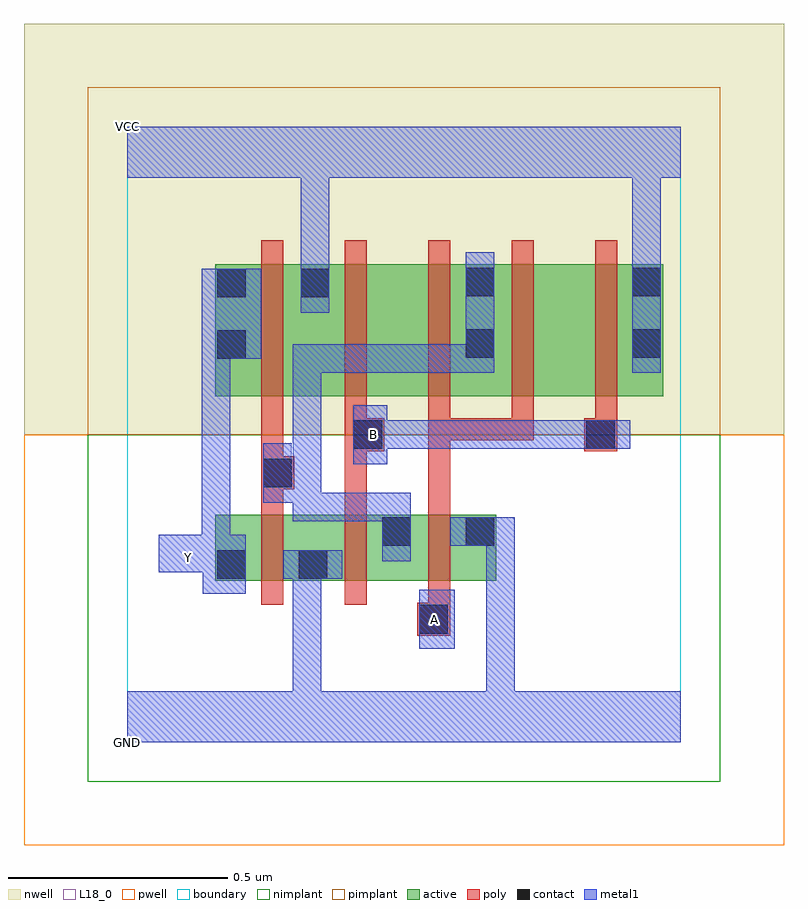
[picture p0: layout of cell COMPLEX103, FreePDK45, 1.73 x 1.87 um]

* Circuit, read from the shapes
.subckt COMPLEX103 A B GND VCC Y
M1 GND n1 Y VSUBS nfet w=0.15u l=0.05u
M2 n1 B GND VSUBS nfet w=0.15u l=0.05u
M3 GND A n1 VSUBS nfet w=0.15u l=0.05u
M4 VCC n1 Y n2 pfet w=0.3u l=0.05u
M5 n3 B VCC n2 pfet w=0.3u l=0.05u
M6 n1 A n3 n2 pfet w=0.3u l=0.05u
M7 n4 A n1 n2 pfet w=0.3u l=0.05u
M8 VCC B n4 n2 pfet w=0.3u l=0.05u
.ends

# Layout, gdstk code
import gdstk
lib = gdstk.Library(unit=1e-6, precision=1e-09)
def R(c, l, rs):  # rectangles x0, y0, x1, y1
    for r in rs: c.add(gdstk.rectangle(r[:2], r[2:], *l))
def A(c, l, x, y, w, h, nx, ny, dx, dy):  # array of equal rectangles
    R(c, l, [(x+i*dx, y+j*dy, x+i*dx+w, y+j*dy+h) for i in range(nx) for j in range(ny)])
active = (1, 0)
pwell = (2, 0)
nwell = (3, 0)
nimplant = (4, 0)
pimplant = (5, 0)
poly = (9, 0)
contact = (10, 0)
metal1 = (11, 0)
L18_0 = (18, 0)
boundary = (235, 0)

complex103 = lib.new_cell('COMPLEX103')
R(complex103, active, [(0.2,0.367,0.275,0.517), (0.2,0.367,0.46,0.517), (0.385,0.367,0.65,0.517), (0.385,0.367,0.46,0.442), (0.575,0.367,0.65,0.517), (0.575,0.367,0.84,0.517), (0.765,0.367,0.84,0.517), (0.2,0.787,0.465,1.087), (0.2,0.787,0.275,1.082), (0.39,0.787,0.615,1.087), (0.615,0.787,0.84,1.087), (0.765,0.787,0.84,1.087), (0.765,0.787,0.995,1.087), (0.995,0.787,1.22,1.087), (1.145,0.787,1.22,1.087), (0.39,1.007,0.465,1.087)])
R(complex103, pwell, [(-0.235,-0.235,1.495,0.7)])
R(complex103, nwell, [(-0.235,0.7,1.495,1.635)])
R(complex103, nimplant, [(-0.09,-0.09,1.35,0.7)])
R(complex103, pimplant, [(-0.09,0.7,1.35,1.49)])
A(complex103, poly, 0.305, 0.312, 0.05, 0.26, 3, 1, 0.19, 0)
A(complex103, poly, 0.495, 0.687, 0.05, 0.095, 4, 1, 0.19, 0)
A(complex103, poly, 0.305, 0.732, 0.05, 0.41, 5, 1, 0.19, 0)
R(complex103, poly, [(0.66,0.242,0.735,0.317), (0.685,0.267,0.735,0.362), (0.305,0.522,0.355,0.625), (0.495,0.522,0.545,0.712), (0.685,0.522,0.735,0.737), (0.305,0.575,0.38,0.65), (0.305,0.6,0.355,0.782), (0.495,0.662,0.585,0.737), (1.04,0.662,1.115,0.737), (0.685,0.687,0.735,0.737), (0.685,0.687,0.925,0.737), (0.875,0.687,0.925,0.737), (0.875,0.687,0.925,0.737), (0.875,0.687,0.925,0.737)])
R(complex103, contact, [(0.665,0.247,0.73,0.312), (0.205,0.372,0.27,0.437), (0.39,0.372,0.455,0.437), (0.58,0.447,0.645,0.512), (0.77,0.447,0.835,0.512), (0.31,0.58,0.375,0.645), (0.515,0.667,0.58,0.732), (1.045,0.667,1.11,0.732), (0.205,0.872,0.27,0.937), (0.77,0.875,0.835,0.94), (1.15,0.875,1.215,0.94), (0.205,1.012,0.27,1.077), (0.395,1.012,0.46,1.077), (0.77,1.015,0.835,1.08), (1.15,1.015,1.215,1.08)])
R(complex103, metal1, [(0,0,1.26,0.115), (0.377,0.05,0.442,0.115), (0.377,0.05,0.442,0.115), (0.377,0.05,0.442,0.115), (0.377,0.05,0.442,0.115), (0.377,0.05,0.442,0.115), (0.377,0.05,0.442,0.115), (0.377,0.05,0.442,0.437), (0.817,0.05,0.882,0.512), (0.665,0.212,0.745,0.347), (0.172,0.337,0.27,0.472), (0.355,0.372,0.49,0.437), (0.072,0.387,0.237,0.472), (0.17,0.407,0.235,0.937), (0.172,0.407,0.237,0.472), (0.58,0.412,0.645,0.567), (0.735,0.447,0.882,0.512), (0.817,0.447,0.882,0.512), (0.817,0.447,0.882,0.512), (0.817,0.447,0.882,0.512), (0.817,0.447,0.882,0.512), (0.817,0.447,0.882,0.512), (0.817,0.447,0.882,0.512), (0.377,0.502,0.442,0.567), (0.377,0.502,0.592,0.567), (0.377,0.502,0.442,0.61), (0.527,0.502,0.592,0.567), (0.527,0.502,0.645,0.567), (0.31,0.545,0.375,0.68), (0.31,0.545,0.442,0.61), (0.377,0.545,0.442,0.61), (0.377,0.545,0.442,0.905), (0.515,0.632,0.592,0.767), (0.527,0.667,0.592,0.732), (0.527,0.667,0.592,0.732), (0.527,0.667,0.73,0.732), (0.665,0.667,0.73,0.732), (0.665,0.667,0.937,0.732), (0.872,0.667,0.937,0.732), (0.872,0.667,0.937,0.732), (0.872,0.667,0.937,0.732), (0.872,0.667,1.075,0.732), (1.01,0.667,1.075,0.732), (1.01,0.667,1.075,0.732), (1.01,0.667,1.145,0.732), (0.377,0.84,0.442,0.905), (0.377,0.84,0.592,0.905), (0.527,0.84,0.592,0.905), (0.527,0.84,0.592,0.905), (0.527,0.84,0.592,0.905), (0.527,0.84,0.73,0.905), (0.665,0.84,0.73,0.905), (0.665,0.84,0.835,0.905), (0.77,0.84,0.835,1.115), (1.15,0.84,1.215,1.115), (0.17,0.872,0.305,1.077), (0.395,0.977,0.46,1.112), (0.395,1.047,0.46,1.35), (1.15,1.05,1.215,1.35), (0,1.285,1.26,1.4), (0.395,1.285,0.46,1.35), (0.395,1.285,0.46,1.35), (1.15,1.285,1.215,1.35), (1.15,1.285,1.215,1.35)])
R(complex103, L18_0, [(0,0,1.26,0.115), (0.377,0.05,0.442,0.115), (0.377,0.05,0.442,0.115), (0.377,0.05,0.442,0.115), (0.377,0.05,0.442,0.115), (0.377,0.05,0.442,0.115), (0.377,0.05,0.442,0.115), (0.377,0.05,0.442,0.437), (0.817,0.05,0.882,0.512), (0.665,0.212,0.745,0.347), (0.667,0.247,0.732,0.312), (0.172,0.337,0.27,0.472), (0.355,0.372,0.49,0.437), (0.072,0.387,0.237,0.472), (0.107,0.387,0.172,0.452), (0.17,0.407,0.235,0.937), (0.172,0.407,0.237,0.472), (0.735,0.447,0.882,0.512), (0.817,0.447,0.882,0.512), (0.817,0.447,0.882,0.512), (0.817,0.447,0.882,0.512), (0.817,0.447,0.882,0.512), (0.817,0.447,0.882,0.512), (0.817,0.447,0.882,0.512), (0.515,0.632,0.592,0.767), (0.527,0.667,0.592,0.732), (0.527,0.667,0.592,0.732), (0.527,0.667,0.592,0.732), (0.527,0.667,0.73,0.732), (0.665,0.667,0.73,0.732), (0.665,0.667,0.937,0.732), (0.872,0.667,0.937,0.732), (0.872,0.667,0.937,0.732), (0.872,0.667,0.937,0.732), (0.872,0.667,1.075,0.732), (1.01,0.667,1.075,0.732), (1.01,0.667,1.075,0.732), (1.01,0.667,1.145,0.732), (1.15,0.84,1.215,1.115), (0.17,0.872,0.305,1.077), (0.395,0.977,0.46,1.112), (0.395,1.047,0.46,1.35), (1.15,1.05,1.215,1.35), (0,1.285,1.26,1.4), (0.395,1.285,0.46,1.35), (0.395,1.285,0.46,1.35), (1.15,1.285,1.215,1.35), (1.15,1.285,1.215,1.35)])
R(complex103, boundary, [(0,0,1.26,1.4)])
complex103.add(gdstk.Label('A', (0.7,0.28), layer=11, texttype=0))
complex103.add(gdstk.Label('B', (0.56,0.7), layer=11, texttype=0))
complex103.add(gdstk.Label('Y', (0.14,0.42), layer=11, texttype=0))
complex103.add(gdstk.Label('VCC', (0,1.4), layer=11, texttype=0))
complex103.add(gdstk.Label('GND', (0,0), layer=11, texttype=0))

lib.write_gds('COMPLEX103.gds')
